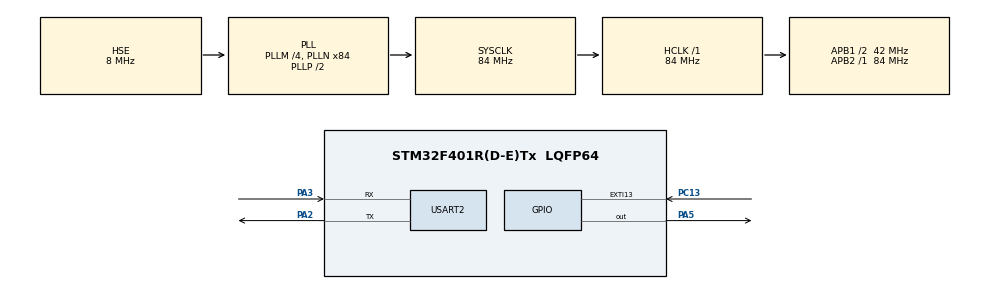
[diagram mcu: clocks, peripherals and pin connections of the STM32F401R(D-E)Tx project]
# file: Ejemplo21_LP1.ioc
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Mcu.Family=STM32F4
Mcu.Name=STM32F401R(D-E)Tx
Mcu.Package=LQFP64
NVIC.EXTI15_10_IRQn=true\:0\:0\:false\:false\:true\:true\:true\:true
NVIC.PriorityGroup=NVIC_PRIORITYGROUP_4
NVIC.USART2_IRQn=true\:0\:0\:false\:false\:true\:true\:true\:true
PA0-WKUP.Mode=SYS_WakeUp0
PA0-WKUP.Signal=SYS_WKUP
PA13.Mode=Serial_Wire
PA13.Signal=SYS_JTMS-SWDIO
PA14.Mode=Serial_Wire
PA14.Signal=SYS_JTCK-SWCLK
PA2.Mode=Asynchronous
PA2.Signal=USART2_TX
PA3.Mode=Asynchronous
PA3.Signal=USART2_RX
PA5.GPIO_PuPd=GPIO_NOPULL
PA5.Signal=GPIO_Output
PC13-ANTI_TAMP.GPIO_ModeDefaultEXTI=GPIO_MODE_IT_FALLING
PC13-ANTI_TAMP.GPIO_PuPd=GPIO_PULLUP
PC13-ANTI_TAMP.Signal=GPXTI13
PH0\ -\ OSC_IN.Mode=HSE-External-Clock-Source
PH0\ -\ OSC_IN.Signal=RCC_OSC_IN
PH1\ -\ OSC_OUT.Mode=HSE-External-Clock-Source
PH1\ -\ OSC_OUT.Signal=RCC_OSC_OUT
ProjectManager.HeapSize=0x200
ProjectManager.StackSize=0x400
ProjectManager.TargetToolchain=STM32CubeIDE
RCC.48MHZClocksFreq_Value=42000000
RCC.AHBFreq_Value=84000000
RCC.APB1CLKDivider=RCC_HCLK_DIV2
RCC.APB1Freq_Value=42000000
RCC.APB1TimFreq_Value=84000000
RCC.APB2Freq_Value=84000000
RCC.APB2TimFreq_Value=84000000
RCC.CortexFreq_Value=84000000
RCC.HCLKFreq_Value=84000000
RCC.HSE_VALUE=8000000
RCC.HSI_VALUE=16000000
RCC.LSE_VALUE=32768
RCC.PLLM=4
RCC.PLLN=84
RCC.PLLSourceVirtual=RCC_PLLSOURCE_HSE
RCC.SYSCLKFreq_VALUE=84000000
RCC.SYSCLKSource=RCC_SYSCLKSOURCE_PLLCLK
RCC.VCOOutputFreq_Value=168000000
USART2.VirtualMode=VM_ASYNC
board=custom

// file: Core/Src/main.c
/* USER CODE BEGIN Header */
/**
  ******************************************************************************
  * @file           : main.c
  * @brief          : Main program body
  ******************************************************************************
  * @attention
  *
  * Copyright (c) 2023 STMicroelectronics.
  * All rights reserved.
  *
  * This software is licensed under terms that can be found in the LICENSE file
  * in the root directory of this software component.
  * If no LICENSE file comes with this software, it is provided AS-IS.
  *
  ******************************************************************************
  */
/* USER CODE END Header */
#include "main.h"
#include "usart.h"
#include "gpio.h"

/* USER CODE BEGIN Includes */
#include "string.h"
#include "stdbool.h"
/* USER CODE END Includes */

void SystemClock_Config(void);

/* USER CODE BEGIN 0 */
uint8_t * MSG_Slepp = {0};
uint8_t * MSG_Stop1 = {0};
uint8_t * MSG_Stop2= {0};
uint8_t * MSG_SB1 = {0};
uint8_t * MSG_SB2= {0};
uint8_t * MSG_SB3= {0};
bool Bandera = false;
uint8_t rx = 0;

void LowPOWER_SLEEP(void){
    MSG_Slepp = "Entrando al MODO SLEEP zzz en 5Segundos\n\r";
    HAL_UART_Transmit(&huart2, MSG_Slepp, strlen(MSG_Slepp), HAL_MAX_DELAY);
    GPIOA->ODR |= (1<<5);// prendemos led
    HAL_Delay(5000);//damos tiempo de 5 segundops

    // Detenemos todo
    HAL_SuspendTick();
    GPIOA->ODR &= ~(1<<5);// nos aseguramos que entre al modo de sleep

    HAL_PWR_EnterSLEEPMode(PWR_MAINREGULATOR_ON, PWR_SLEEPENTRY_WFI);//mediante una interrupcion
    HAL_ResumeTick();//revimos el clock
    MSG_Slepp = "Despertando del Sleep Mode con el SMT32F4:D\n\r";
    HAL_UART_Transmit(&huart2, MSG_Slepp, strlen(MSG_Slepp), HAL_MAX_DELAY);

    for (uint8_t var = 0; var < 20; ++var) {
  	  GPIOA->ODR ^= (1<<5);
  	  HAL_Delay(200);
  }

}

void LowPOWER_STOP(void){
    for (uint8_t var = 0; var < 20; ++var) {
  	  GPIOA->ODR ^= (1<<5);
  	  HAL_Delay(200);
  }
	MSG_Stop1 = "Entrando al MODO STOP zzz en 5Segundos\n\r";
    HAL_UART_Transmit(&huart2, MSG_Stop1, strlen(MSG_Stop1), HAL_MAX_DELAY);
    HAL_Delay(5000);//damos tiempo de 5 segundops

    // Detenemos todo
    HAL_SuspendTick();

    HAL_PWR_EnterSTOPMode(PWR_LOWPOWERREGULATOR_ON, PWR_SLEEPENTRY_WFI);//mediante una interrupcion
    SystemClock_Config();
    HAL_ResumeTick();//revivimos el sistema

    MSG_Stop2 = "Despertando del Stop Mode con el SMT32F4:D\n\r";
    HAL_UART_Transmit(&huart2, MSG_Stop2, strlen(MSG_Stop2), HAL_MAX_DELAY);

    for (uint8_t var = 0; var < 10; ++var) {
  	  GPIOA->ODR ^= (1<<5);
  	  HAL_Delay(2000);
  }

}

void LowPOWER_StandBye(void){

	if (__HAL_PWR_GET_FLAG(PWR_FLAG_SB) != 0) {

		__HAL_PWR_CLEAR_FLAG(PWR_FLAG_SB);
		MSG_SB1 = "Despertando del StandBye Mode con el SMT32F4:D\n\r";
		HAL_UART_Transmit(&huart2, MSG_SB1, strlen(MSG_SB1), HAL_MAX_DELAY);

		   for (uint8_t var = 0; var < 20; ++var) {
		  	  GPIOA->ODR ^= (1<<5);
		  	  HAL_Delay(200);
		  }
		   HAL_PWR_DisableWakeUpPin(PWR_WAKEUP_PIN1);
	}

	//**************************************
	__HAL_PWR_CLEAR_FLAG(PWR_FLAG_WU);

	MSG_SB2 = "Preparados para ir a StandBye Mode con el SMT32F4:D\n\r";
	HAL_UART_Transmit(&huart2, MSG_SB2, strlen(MSG_SB2), HAL_MAX_DELAY);
	   for (uint8_t var = 0; var < 10; ++var) {
	  	  GPIOA->ODR ^= (1<<5);
	  	  HAL_Delay(1000);
	  }
	   HAL_PWR_EnableWakeUpPin(PWR_WAKEUP_PIN1);
		MSG_SB3 = " StandBye Mode ON SMT32F4:D\n\r";
		HAL_UART_Transmit(&huart2, MSG_SB3, strlen(MSG_SB3), HAL_MAX_DELAY);

	HAL_PWR_EnterSTANDBYMode();
}

/* USER CODE END 0 */

int main(void)
{

  /* MCU Configuration--------------------------------------------------------*/

  /* Reset of all peripherals, Initializes the Flash interface and the Systick. */
  HAL_Init();

  /* Configure the system clock */
  SystemClock_Config();

  /* Initialize all configured peripherals */
  MX_GPIO_Init();
  MX_USART2_UART_Init();
  /* USER CODE BEGIN 2 */

HAL_UART_Receive_IT(&huart2, &rx, 1);
//LowPOWER_STOP();
LowPOWER_StandBye();

  /* USER CODE END 2 */

  /* Infinite loop */
  while (1)
  {

  }
}

void SystemClock_Config(void)
{
  RCC_OscInitTypeDef RCC_OscInitStruct = {0};
  RCC_ClkInitTypeDef RCC_ClkInitStruct = {0};

  /** Configure the main internal regulator output voltage
  */
  __HAL_RCC_PWR_CLK_ENABLE();
  __HAL_PWR_VOLTAGESCALING_CONFIG(PWR_REGULATOR_VOLTAGE_SCALE2);

  /** Initializes the RCC Oscillators according to the specified parameters
  * in the RCC_OscInitTypeDef structure.
  */
  RCC_OscInitStruct.OscillatorType = RCC_OSCILLATORTYPE_HSE;
  RCC_OscInitStruct.HSEState = RCC_HSE_BYPASS;
  RCC_OscInitStruct.PLL.PLLState = RCC_PLL_ON;
  RCC_OscInitStruct.PLL.PLLSource = RCC_PLLSOURCE_HSE;
  RCC_OscInitStruct.PLL.PLLM = 4;
  RCC_OscInitStruct.PLL.PLLN = 84;
  RCC_OscInitStruct.PLL.PLLP = RCC_PLLP_DIV2;
  RCC_OscInitStruct.PLL.PLLQ = 4;
  if (HAL_RCC_OscConfig(&RCC_OscInitStruct) != HAL_OK)
  {
    Error_Handler();
  }

  /** Initializes the CPU, AHB and APB buses clocks
  */
  RCC_ClkInitStruct.ClockType = RCC_CLOCKTYPE_HCLK|RCC_CLOCKTYPE_SYSCLK
                              |RCC_CLOCKTYPE_PCLK1|RCC_CLOCKTYPE_PCLK2;
  RCC_ClkInitStruct.SYSCLKSource = RCC_SYSCLKSOURCE_PLLCLK;
  RCC_ClkInitStruct.AHBCLKDivider = RCC_SYSCLK_DIV1;
  RCC_ClkInitStruct.APB1CLKDivider = RCC_HCLK_DIV2;
  RCC_ClkInitStruct.APB2CLKDivider = RCC_HCLK_DIV1;

  if (HAL_RCC_ClockConfig(&RCC_ClkInitStruct, FLASH_LATENCY_2) != HAL_OK)
  {
    Error_Handler();
  }
}

/* USER CODE BEGIN 4 */
void HAL_GPIO_EXTI_Callback(uint16_t GPIO_Pin){

	Bandera = true;

}
void HAL_UART_RxCpltCallback(UART_HandleTypeDef *huart)
{
	HAL_UART_Receive_IT(&huart2, &rx, 1);
}
/* USER CODE END 4 */

void Error_Handler(void)
{
  __disable_irq();
  while (1)
  {
  }
}
